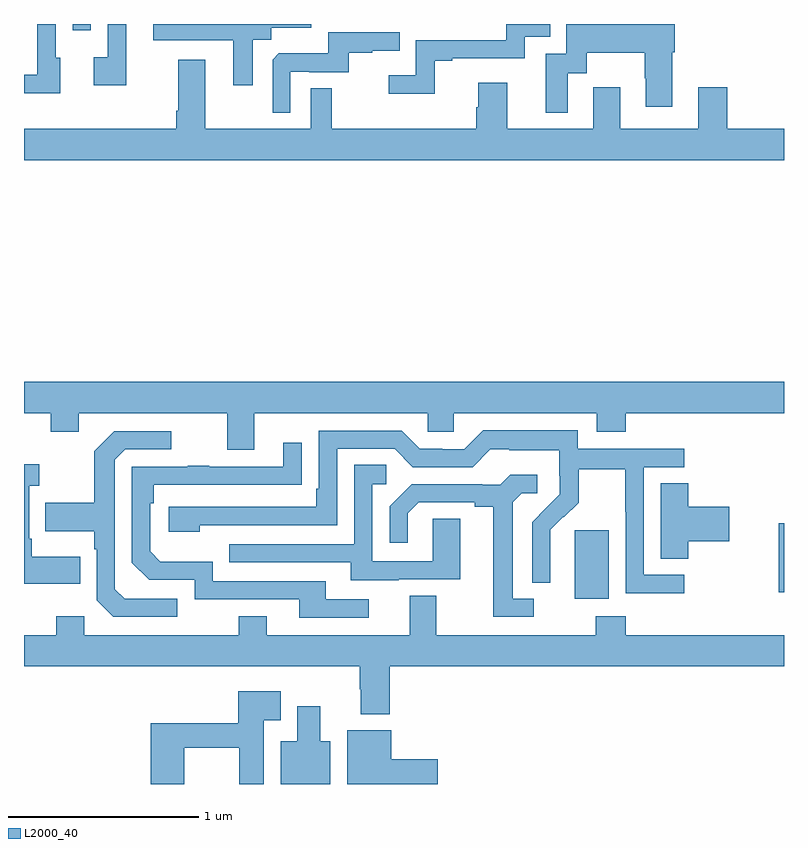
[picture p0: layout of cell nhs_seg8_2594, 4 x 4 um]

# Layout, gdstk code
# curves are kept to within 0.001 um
import gdstk
lib = gdstk.Library(unit=1e-6, precision=1e-09)
def R(c, l, rs):  # rectangles x0, y0, x1, y1
    for r in rs: c.add(gdstk.rectangle(r[:2], r[2:], *l))
def P(c, l, *ps):  # polygons
    for p in ps: c.add(gdstk.Polygon(p, *l))
L2000_40 = (2000, 40)

nhs_seg8_2594 = lib.new_cell('nhs_seg8_2594')
R(nhs_seg8_2594, L2000_40, [(277.898,1096.874,278.077,1097.235), (278.972,1096.908,279,1097.272), (275.256,1099.866,275.352,1099.9)])
P(nhs_seg8_2594, L2000_40, [(277.161,1099.707),(277.255,1099.707),(277.255,1099.719),(277.635,1099.719),(277.635,1099.833),(277.769,1099.833),(277.769,1099.9),(277.539,1099.9),(277.539,1099.815),(277.062,1099.815),(277.062,1099.63),(276.921,1099.63),(276.921,1099.532),(277.161,1099.532)],
  [(275.191,1099.722),(275.166,1099.722),(275.166,1099.9),(275.07,1099.9),(275.07,1099.632),(275,1099.632),(275,1099.535),(275.191,1099.535)],
  [(276.205,1099.816),(276.3,1099.816),(276.3,1099.88),(276.511,1099.88),(276.511,1099.9),(275.681,1099.9),(275.681,1099.814),(276.101,1099.814),(276.101,1099.578),(276.205,1099.578)],
  [(277.861,1099.642),(277.963,1099.642),(277.963,1099.748),(278.266,1099.748),(278.266,1099.614),(278.273,1099.614),(278.273,1099.464),(278.413,1099.464),(278.413,1099.752),(278.426,1099.752),(278.426,1099.9),(277.854,1099.9),(277.854,1099.743),(277.745,1099.743),(277.745,1099.434),(277.861,1099.434)],
  [(275.539,1099.9),(275.442,1099.9),(275.442,1099.726),(275.367,1099.726),(275.367,1099.578),(275.539,1099.578)],
  [(276.402,1099.65),(276.502,1099.65),(276.502,1099.647),(276.71,1099.647),(276.71,1099.749),(276.833,1099.749),(276.833,1099.76),(276.977,1099.76),(276.977,1099.857),(276.6,1099.857),(276.6,1099.745),(276.341,1099.745),(276.309,1099.713),(276.309,1099.433),(276.402,1099.433)],
  [(279,1099.348),(278.702,1099.348),(278.702,1099.567),(278.549,1099.567),(278.549,1099.348),(278.137,1099.348),(278.137,1099.567),(277.997,1099.567),(277.997,1099.348),(277.543,1099.348),(277.543,1099.591),(277.391,1099.591),(277.391,1099.461),(277.379,1099.461),(277.379,1099.348),(276.619,1099.348),(276.619,1099.562),(276.51,1099.562),(276.51,1099.348),(275.953,1099.348),(275.953,1099.711),(275.813,1099.711),(275.813,1099.444),(275.801,1099.444),(275.801,1099.348),(275,1099.348),(275,1099.184),(279,1099.184)],
  [(276.211,1097.852),(277.125,1097.852),(277.125,1097.754),(277.263,1097.754),(277.263,1097.852),(278.015,1097.852),(278.015,1097.753),(278.168,1097.753),(278.168,1097.852),(279,1097.852),(279,1098.016),(275,1098.016),(275,1097.852),(275.14,1097.852),(275.14,1097.753),(275.287,1097.753),(275.287,1097.852),(276.071,1097.852),(276.071,1097.658),(276.211,1097.658)],
  [(278.476,1097.001),(278.262,1097.001),(278.262,1097.568),(278.476,1097.568),(278.476,1097.664),(277.914,1097.664),(277.914,1097.761),(277.417,1097.761),(277.317,1097.661),(277.202,1097.661),(277.202,1097.664),(277.083,1097.664),(276.987,1097.76),(276.552,1097.76),(276.552,1097.455),(276.539,1097.455),(276.539,1097.358),(275.763,1097.358),(275.763,1097.228),(275.924,1097.228),(275.924,1097.262),(276.648,1097.262),(276.648,1097.664),(276.951,1097.664),(277.047,1097.568),(277.362,1097.568),(277.455,1097.661),(277.555,1097.661),(277.555,1097.657),(277.818,1097.657),(277.818,1097.523),(277.82,1097.523),(277.82,1097.426),(277.674,1097.278),(277.674,1096.96),(277.77,1096.96),(277.769,1097.237),(277.839,1097.307),(277.842,1097.304),(277.919,1097.381),(277.919,1097.556),(278.164,1097.556),(278.164,1097.332),(278.166,1097.332),(278.166,1096.903),(278.476,1096.903)],
  [(275.806,1096.875),(275.529,1096.875),(275.478,1096.926),(275.478,1097.607),(275.532,1097.661),(275.776,1097.661),(275.776,1097.757),(275.475,1097.757),(275.37,1097.651),(275.37,1097.379),(275.113,1097.379),(275.113,1097.231),(275.37,1097.231),(275.37,1097.135),(275.382,1097.135),(275.382,1096.866),(275.469,1096.779),(275.806,1096.779)],
  [(276.814,1096.872),(276.589,1096.872),(276.589,1096.968),(275.994,1096.968),(275.994,1097.071),(275.717,1097.071),(275.664,1097.124),(275.664,1097.378),(275.684,1097.378),(275.684,1097.475),(276.461,1097.476),(276.461,1097.695),(276.365,1097.695),(276.365,1097.571),(275.975,1097.571),(275.975,1097.576),(275.863,1097.576),(275.863,1097.571),(275.568,1097.571),(275.568,1097.064),(275.658,1096.974),(275.898,1096.974),(275.898,1096.872),(276.449,1096.872),(276.449,1096.776),(276.814,1096.776)],
  [(275.297,1097.095),(275.041,1097.095),(275.041,1097.191),(275.028,1097.191),(275.028,1097.471),(275.08,1097.471),(275.08,1097.584),(275,1097.584),(275,1096.955),(275.297,1096.955)],
  [(276.973,1096.977),(277.297,1096.977),(277.297,1097.297),(277.152,1097.297),(277.152,1097.073),(276.834,1097.073),(276.834,1097.478),(276.907,1097.478),(276.907,1097.579),(276.738,1097.579),(276.738,1097.163),(276.079,1097.163),(276.079,1097.067),(276.719,1097.067),(276.719,1096.973),(276.973,1096.973)],
  [(277.684,1096.875),(277.573,1096.875),(277.573,1097.383),(277.62,1097.43),(277.702,1097.43),(277.702,1097.527),(277.558,1097.527),(277.506,1097.475),(277.412,1097.475),(277.412,1097.478),(277.04,1097.478),(276.924,1097.362),(276.924,1097.169),(277.021,1097.169),(277.021,1097.325),(277.078,1097.382),(277.373,1097.382),(277.373,1097.36),(277.469,1097.36),(277.469,1096.779),(277.684,1096.779)],
  [(278.495,1097.177),(278.713,1097.177),(278.713,1097.36),(278.495,1097.36),(278.495,1097.483),(278.351,1097.483),(278.351,1097.086),(278.495,1097.086)],
  [(276.926,1096.52),(279,1096.52),(279,1096.684),(278.168,1096.684),(278.168,1096.783),(278.008,1096.783),(278.008,1096.684),(277.171,1096.684),(277.171,1096.892),(277.031,1096.892),(277.031,1096.684),(276.277,1096.684),(276.277,1096.783),(276.13,1096.783),(276.13,1096.684),(275.316,1096.684),(275.316,1096.783),(275.17,1096.783),(275.17,1096.684),(275,1096.684),(275,1096.52),(276.766,1096.52),(276.766,1096.4),(276.773,1096.4),(276.773,1096.268),(276.926,1096.268)],
  [(275.844,1096.09),(276.133,1096.09),(276.133,1095.9),(276.262,1095.9),(276.262,1096.235),(276.352,1096.235),(276.352,1096.387),(276.128,1096.387),(276.128,1096.219),(275.666,1096.219),(275.666,1095.9),(275.844,1095.9)],
  [(276.613,1096.126),(276.559,1096.126),(276.559,1096.309),(276.437,1096.309),(276.437,1096.126),(276.35,1096.126),(276.35,1095.9),(276.613,1095.9)],
  [(277.177,1096.031),(276.934,1096.031),(276.934,1096.183),(276.701,1096.183),(276.701,1095.9),(277.177,1095.9)])

lib.write_gds('nhs_seg8_2594.gds')
